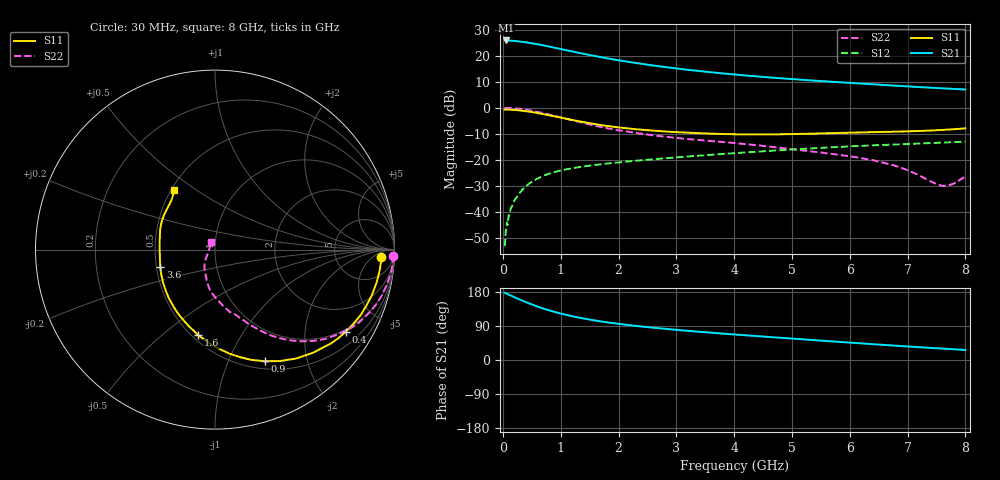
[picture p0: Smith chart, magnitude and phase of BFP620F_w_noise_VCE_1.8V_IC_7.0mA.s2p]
! Infineon Technologies  Discrete & RF Semiconductors
! BFP620F
! VCE =  1.8 V,  IC =  7.0 mA
! Common Emitter S-Parameters:  Dec 2014
# GHz  S  MA  R  50
!  f  S11  S21  S12  S22
! GHz  MAG  ANG  MAG  ANG  MAG  ANG  MAG  ANG
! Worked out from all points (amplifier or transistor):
!   95 points, 30 MHz to 8 GHz, reference 50 ohm
!   highest |S21| = 25.9 dB at 50 MHz (marker M1)
!   |S21| within 3 dB of that: start of sweep to 940.8 MHz
!   unconditionally stable (mu >= 1): 4.551 GHz to end of sweep
!   at 300 MHz: K = 0.12, MSG = 28.9 dB, |S12| = -32.4 dB
!   at 3.3 GHz: K = 0.91, MSG = 16.4 dB, |S12| = -18.5 dB
!   at 8 GHz: K = 1.10, MAG = 8.1 dB, |S12| = -13.0 dB
!   lowest NFmin = 0.55 dB at 450 MHz
!   S11 on the Smith chart (normalised r, x): 30 MHz: 20, -11; 400 MHz: 0.92, -3.24; 900 MHz: 0.59, -1.37; 1.6 GHz: 0.54, -0.67; 3.6 GHz: 0.52, -0.11; 8 GHz: 0.52, +0.41
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0.03  0.9269 -2.4  19.61 177.4  0.0022 86.0  0.9924 -1.9
0.05  0.9274 -4.2  19.65 176.1  0.0043 93.4  0.9935 -3.0
0.15  0.9168 -12.4  19.44 169.2  0.0122 83.3  0.9835 -9.3
0.25  0.8995 -20.4  18.98 162.2  0.0199 79.2  0.9634 -15.5
0.4  0.8602 -32.1  18.08 152.6  0.0312 74.1  0.9151 -24.2
0.5  0.8291 -39.4  17.34 146.7  0.0381 69.8  0.8782 -29.5
0.6  0.7913 -46.7  16.62 140.9  0.0439 66.5  0.833 -34.5
0.7  0.7562 -53.4  15.81 135.8  0.0496 63.2  0.7891 -39.2
0.9  0.6815 -65.9  14.23 126.6  0.0587 58.5  0.6984 -47.0
1.1  0.6145 -77.0  12.72 118.9  0.0658 54.9  0.6144 -53.6
1.3  0.5552 -87.2  11.44 112.3  0.0723 52.0  0.5411 -59.0
1.4  0.5306 -92.0  10.87 109.4  0.0749 50.9  0.5102 -61.3
1.6  0.4856 -101.1  9.834 104.1  0.08 49.3  0.4529 -65.8
1.8  0.4495 -109.3  8.951 99.5  0.0848 48.0  0.4061 -69.9
2.1  0.4086 -120.9  7.854 93.5  0.0917 46.2  0.358 -76.6
2.7  0.3579 -139.9  6.277 83.8  0.1047 44.2  0.2868 -86.0
3.6  0.3193 -162.7  4.815 72.1  0.1251 41.5  0.23 -96.5
4.1  0.3097 -173.3  4.269 66.3  0.1368 39.9  0.2055 -100.4
5.4  0.3199 163.3  3.319 52.2  0.1675 34.5  0.1428 -112.4
6.7  0.3462 143.1  2.697 38.7  0.1959 27.6  0.0816 -132.3
7.6  0.3761 129.1  2.366 30.1  0.2146 23.1  0.0316 170.9
8  0.4024 124.3  2.246 26.4  0.2232 20.7  0.0482 117.4
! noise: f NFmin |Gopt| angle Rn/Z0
0.45  0.55  0.38  9  0.25
0.9  0.61  0.35  19  0.22
1.5  0.68  0.32  24  0.19
1.8  0.71  0.3  27  0.18
1.9  0.72  0.25  40  0.19
2.4  0.77  0.22  56  0.17
3.5  0.88  0.21  75  0.14
5.5  1.08  0.14  162  0.12
6  1.12  0.11  185  0.21
